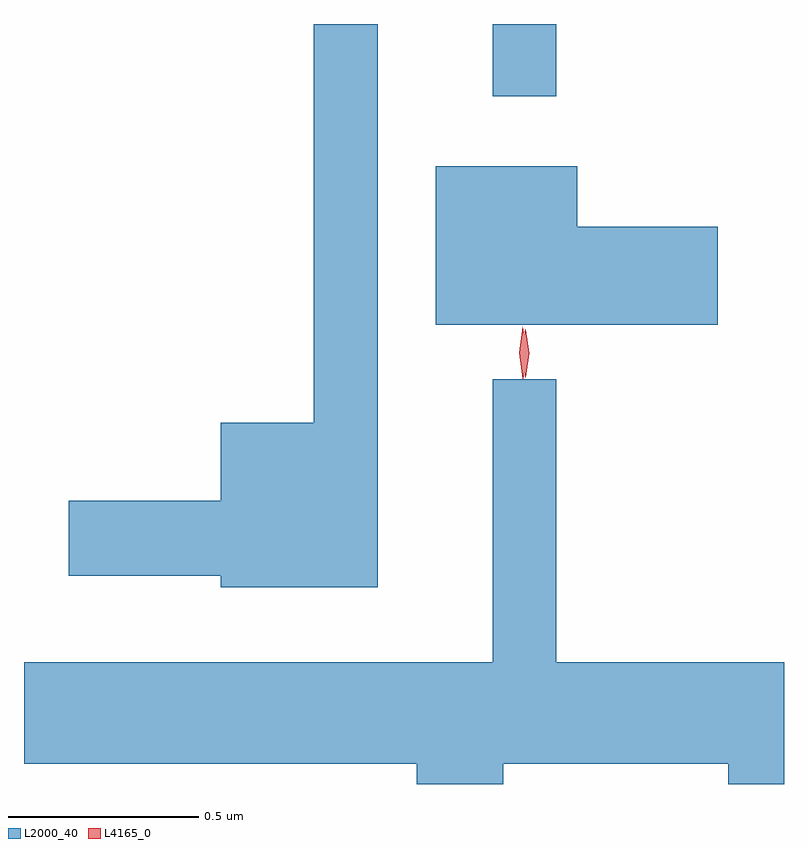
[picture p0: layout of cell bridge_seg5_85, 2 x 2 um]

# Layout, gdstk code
import gdstk
lib = gdstk.Library(unit=1e-6, precision=1e-09)
def R(c, l, rs):  # rectangles x0, y0, x1, y1
    for r in rs: c.add(gdstk.rectangle(r[:2], r[2:], *l))
def P(c, l, *ps):  # polygons
    for p in ps: c.add(gdstk.Polygon(p, *l))
L2000_40 = (2000, 40)
L4165_0 = (4165, 0)

bridge_seg5_85 = lib.new_cell('bridge_seg5_85')
R(bridge_seg5_85, L2000_40, [(1159.141,1480.753,1159.309,1480.943)])
P(bridge_seg5_85, L2000_40, [(1158.839,1480.943),(1158.671,1480.943),(1158.671,1479.894),(1158.426,1479.894),(1158.426,1479.689),(1158.026,1479.689),(1158.026,1479.491),(1158.426,1479.491),(1158.426,1479.461),(1158.839,1479.461)],
  [(1159.734,1480.409),(1159.364,1480.409),(1159.364,1480.569),(1158.991,1480.569),(1158.991,1480.151),(1159.734,1480.151)],
  [(1159.169,1478.996),(1159.761,1478.996),(1159.761,1478.943),(1159.908,1478.943),(1159.908,1479.264),(1159.309,1479.264),(1159.309,1480.008),(1159.141,1480.008),(1159.141,1479.264),(1157.908,1479.264),(1157.908,1478.996),(1158.941,1478.996),(1158.941,1478.943),(1159.169,1478.943)])
P(bridge_seg5_85, L4165_0, [(1159.227,1480.013),(1159.227,1480.013),(1159.217,1480.076),(1159.227,1480.139),(1159.227,1480.14),(1159.228,1480.139),(1159.237,1480.076),(1159.228,1480.013)],
  [(1159.221,1480.01),(1159.211,1480.078),(1159.22,1480.146),(1159.22,1480.146),(1159.221,1480.146),(1159.231,1480.078),(1159.222,1480.01),(1159.222,1480.01)])

lib.write_gds('bridge_seg5_85.gds')
